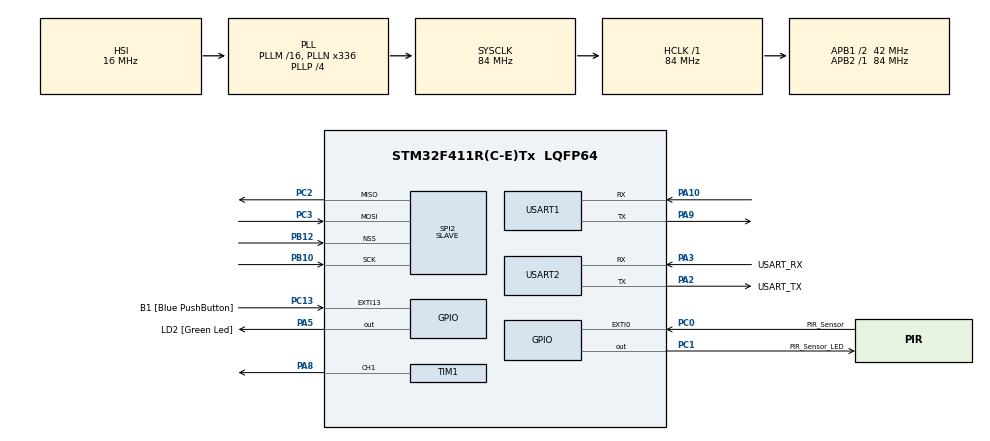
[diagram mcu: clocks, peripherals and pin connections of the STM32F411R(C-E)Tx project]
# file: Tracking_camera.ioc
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Mcu.Family=STM32F4
Mcu.Name=STM32F411R(C-E)Tx
Mcu.Package=LQFP64
NVIC.EXTI0_IRQn=true\:0\:0\:false\:false\:true\:true\:true\:true
NVIC.EXTI15_10_IRQn=true\:0\:0\:false\:false\:true\:true\:true\:true
NVIC.PriorityGroup=NVIC_PRIORITYGROUP_0
NVIC.SPI2_IRQn=true\:0\:0\:false\:false\:true\:true\:true\:true
NVIC.USART1_IRQn=true\:0\:0\:false\:false\:true\:true\:true\:true
PA10.Mode=Asynchronous
PA10.Signal=USART1_RX
PA13.GPIO_Label=TMS
PA13.Mode=Serial_Wire
PA13.Signal=SYS_JTMS-SWDIO
PA14.GPIO_Label=TCK
PA14.Mode=Serial_Wire
PA14.Signal=SYS_JTCK-SWCLK
PA2.GPIO_Label=USART_TX
PA2.Mode=Asynchronous
PA2.Signal=USART2_TX
PA3.GPIO_Label=USART_RX
PA3.Mode=Asynchronous
PA3.Signal=USART2_RX
PA5.GPIO_Label=LD2 [Green Led]
PA5.Signal=GPIO_Output
PA8.Signal=S_TIM1_CH1
PA9.Mode=Asynchronous
PA9.Signal=USART1_TX
PB10.Mode=Full_Duplex_Slave
PB10.Signal=SPI2_SCK
PB12.Mode=NSS_Signal_Hard_Input
PB12.Signal=SPI2_NSS
PB3.GPIO_Label=SWO
PB3.Signal=SYS_JTDO-SWO
PC0.GPIO_Label=PIR_Sensor
PC0.GPIO_ModeDefaultEXTI=GPIO_MODE_IT_RISING_FALLING
PC0.Signal=GPXTI0
PC1.GPIO_Label=PIR_Sensor_LED
PC1.Signal=GPIO_Output
PC13-ANTI_TAMP.GPIO_Label=B1 [Blue PushButton]
PC13-ANTI_TAMP.GPIO_ModeDefaultEXTI=GPIO_MODE_IT_FALLING
PC13-ANTI_TAMP.Signal=GPXTI13
PC14-OSC32_IN.Mode=LSE-External-Oscillator
PC14-OSC32_IN.Signal=RCC_OSC32_IN
PC15-OSC32_OUT.Mode=LSE-External-Oscillator
PC15-OSC32_OUT.Signal=RCC_OSC32_OUT
PC2.Mode=Full_Duplex_Slave
PC2.Signal=SPI2_MISO
PC3.Mode=Full_Duplex_Slave
PC3.Signal=SPI2_MOSI
PH0\ -\ OSC_IN.Mode=HSE-External-Clock-Source
PH0\ -\ OSC_IN.Signal=RCC_OSC_IN
PH1\ -\ OSC_OUT.Mode=HSE-External-Clock-Source
PH1\ -\ OSC_OUT.Signal=RCC_OSC_OUT
ProjectManager.HeapSize=0x200
ProjectManager.StackSize=0x400
ProjectManager.TargetToolchain=CMake
RCC.48MHZClocksFreq_Value=84000000
RCC.AHBFreq_Value=84000000
RCC.APB1CLKDivider=RCC_HCLK_DIV2
RCC.APB1Freq_Value=42000000
RCC.APB1TimFreq_Value=84000000
RCC.APB2Freq_Value=84000000
RCC.APB2TimFreq_Value=84000000
RCC.CortexFreq_Value=84000000
RCC.FLatency-AdvancedSettings=FLASH_LATENCY_2
RCC.HCLKFreq_Value=84000000
RCC.HSE_VALUE=8000000
RCC.HSI_VALUE=16000000
RCC.PLLN=336
RCC.PLLP=RCC_PLLP_DIV4
RCC.SYSCLKFreq_VALUE=84000000
RCC.SYSCLKSource=RCC_SYSCLKSOURCE_PLLCLK
RCC.VCOOutputFreq_Value=336000000
SH.S_TIM1_CH1.0=TIM1_CH1,PWM Generation1 CH1
SPI2.CRCCalculation=SPI_CRCCALCULATION_DISABLE
SPI2.Direction=SPI_DIRECTION_2LINES
SPI2.Mode=SPI_MODE_SLAVE
SPI2.VirtualNSS=VM_NSSHARD
SPI2.VirtualType=VM_SLAVE
TIM1.Channel-PWM\ Generation1\ CH1=TIM_CHANNEL_1
TIM1.Period=19999
TIM1.Prescaler=83
TIM1.Pulse-PWM\ Generation1\ CH1=1500
USART1.VirtualMode=VM_ASYNC
USART2.VirtualMode=VM_ASYNC
board=NUCLEO-F411RE

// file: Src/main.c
/* USER CODE BEGIN Header */
/**
  ******************************************************************************
  * @file           : main.c
  * @brief          : Main program body
  ******************************************************************************
  * @attention
  *
  * Copyright (c) 2026 STMicroelectronics.
  * All rights reserved.
  *
  * This software is licensed under terms that can be found in the LICENSE file
  * in the root directory of this software component.
  * If no LICENSE file comes with this software, it is provided AS-IS.
  *
  ******************************************************************************
  */
/* USER CODE END Header */
#include "main.h"

/* USER CODE BEGIN Includes */
#include "app/app_entry.h"
#include "stm32f4xx_hal_def.h"
#include "stm32f4xx_hal_gpio.h"
#include <stdio.h>
#include <string.h>
/* USER CODE END Includes */

/* USER CODE BEGIN PD */
volatile bool g_uartRxPending = false;
/* USER CODE END PD */

SPI_HandleTypeDef hspi2;

TIM_HandleTypeDef htim1;

UART_HandleTypeDef huart1;
UART_HandleTypeDef huart2;

void SystemClock_Config(void);
static void MX_GPIO_Init(void);
static void MX_USART1_UART_Init(void);
static void MX_USART2_UART_Init(void);
static void MX_TIM1_Init(void);
static void MX_SPI2_Init(void);

/* USER CODE BEGIN 0 */
void HAL_GPIO_EXTI_Callback(uint16_t GPIO_Pin)
{
  App_GPIO_EXTI_Callback(GPIO_Pin);
}

void HAL_UART_RxCpltCallback(UART_HandleTypeDef *huart)
{
  App_UART_RxCpltCallback(huart);
}

void HAL_SPI_RxCpltCallback(SPI_HandleTypeDef *hspi)
{
  App_SPI_RxCpltCallback(hspi);
}

int __io_putchar(int ch)
{
  uint8_t byte = (uint8_t)ch;
  HAL_UART_Transmit(&huart2, &byte, 1, HAL_MAX_DELAY);
  return ch;
}
/* USER CODE END 0 */

int main(void)
{

  /* MCU Configuration--------------------------------------------------------*/

  /* Reset of all peripherals, Initializes the Flash interface and the Systick. */
  HAL_Init();

  /* Configure the system clock */
  SystemClock_Config();

  /* Initialize all configured peripherals */
  MX_GPIO_Init();
  MX_USART1_UART_Init();
  MX_USART2_UART_Init();
  MX_TIM1_Init();
  MX_SPI2_Init();
  /* USER CODE BEGIN 2 */
  HAL_TIM_PWM_Start(&htim1, TIM_CHANNEL_1);

  App_Run(&htim1, &huart1, &hspi2);
  /* USER CODE END 2 */

  /* Infinite loop */
  /* USER CODE BEGIN WHILE */
  while (1)
  {
    App_Loop();
    /* USER CODE END WHILE */

    /* USER CODE BEGIN 3 */
  }

  App_Release();
  /* USER CODE END 3 */
}

void SystemClock_Config(void)
{
  RCC_OscInitTypeDef RCC_OscInitStruct = {0};
  RCC_ClkInitTypeDef RCC_ClkInitStruct = {0};

  /** Configure the main internal regulator output voltage
  */
  __HAL_RCC_PWR_CLK_ENABLE();
  __HAL_PWR_VOLTAGESCALING_CONFIG(PWR_REGULATOR_VOLTAGE_SCALE1);

  /** Initializes the RCC Oscillators according to the specified parameters
  * in the RCC_OscInitTypeDef structure.
  */
  RCC_OscInitStruct.OscillatorType = RCC_OSCILLATORTYPE_HSI;
  RCC_OscInitStruct.HSIState = RCC_HSI_ON;
  RCC_OscInitStruct.HSICalibrationValue = RCC_HSICALIBRATION_DEFAULT;
  RCC_OscInitStruct.PLL.PLLState = RCC_PLL_ON;
  RCC_OscInitStruct.PLL.PLLSource = RCC_PLLSOURCE_HSI;
  RCC_OscInitStruct.PLL.PLLM = 16;
  RCC_OscInitStruct.PLL.PLLN = 336;
  RCC_OscInitStruct.PLL.PLLP = RCC_PLLP_DIV4;
  RCC_OscInitStruct.PLL.PLLQ = 4;
  if (HAL_RCC_OscConfig(&RCC_OscInitStruct) != HAL_OK)
  {
    Error_Handler();
  }

  /** Initializes the CPU, AHB and APB buses clocks
  */
  RCC_ClkInitStruct.ClockType = RCC_CLOCKTYPE_HCLK|RCC_CLOCKTYPE_SYSCLK
                              |RCC_CLOCKTYPE_PCLK1|RCC_CLOCKTYPE_PCLK2;
  RCC_ClkInitStruct.SYSCLKSource = RCC_SYSCLKSOURCE_PLLCLK;
  RCC_ClkInitStruct.AHBCLKDivider = RCC_SYSCLK_DIV1;
  RCC_ClkInitStruct.APB1CLKDivider = RCC_HCLK_DIV2;
  RCC_ClkInitStruct.APB2CLKDivider = RCC_HCLK_DIV1;

  if (HAL_RCC_ClockConfig(&RCC_ClkInitStruct, FLASH_LATENCY_2) != HAL_OK)
  {
    Error_Handler();
  }
}

static void MX_SPI2_Init(void)
{

  /* SPI2 parameter configuration*/
  hspi2.Instance = SPI2;
  hspi2.Init.Mode = SPI_MODE_SLAVE;
  hspi2.Init.Direction = SPI_DIRECTION_2LINES;
  hspi2.Init.DataSize = SPI_DATASIZE_8BIT;
  hspi2.Init.CLKPolarity = SPI_POLARITY_LOW;
  hspi2.Init.CLKPhase = SPI_PHASE_1EDGE;
  hspi2.Init.NSS = SPI_NSS_HARD_INPUT;
  hspi2.Init.FirstBit = SPI_FIRSTBIT_MSB;
  hspi2.Init.TIMode = SPI_TIMODE_DISABLE;
  hspi2.Init.CRCCalculation = SPI_CRCCALCULATION_DISABLE;
  hspi2.Init.CRCPolynomial = 10;
  if (HAL_SPI_Init(&hspi2) != HAL_OK)
  {
    Error_Handler();
  }

}

static void MX_TIM1_Init(void)
{

  TIM_MasterConfigTypeDef sMasterConfig = {0};
  TIM_OC_InitTypeDef sConfigOC = {0};
  TIM_BreakDeadTimeConfigTypeDef sBreakDeadTimeConfig = {0};

  htim1.Instance = TIM1;
  htim1.Init.Prescaler = 83;
  htim1.Init.CounterMode = TIM_COUNTERMODE_UP;
  htim1.Init.Period = 19999;
  htim1.Init.ClockDivision = TIM_CLOCKDIVISION_DIV1;
  htim1.Init.RepetitionCounter = 0;
  htim1.Init.AutoReloadPreload = TIM_AUTORELOAD_PRELOAD_DISABLE;
  if (HAL_TIM_PWM_Init(&htim1) != HAL_OK)
  {
    Error_Handler();
  }
  sMasterConfig.MasterOutputTrigger = TIM_TRGO_RESET;
  sMasterConfig.MasterSlaveMode = TIM_MASTERSLAVEMODE_DISABLE;
  if (HAL_TIMEx_MasterConfigSynchronization(&htim1, &sMasterConfig) != HAL_OK)
  {
    Error_Handler();
  }
  sConfigOC.OCMode = TIM_OCMODE_PWM1;
  sConfigOC.Pulse = 1500;
  sConfigOC.OCPolarity = TIM_OCPOLARITY_HIGH;
  sConfigOC.OCNPolarity = TIM_OCNPOLARITY_HIGH;
  sConfigOC.OCFastMode = TIM_OCFAST_DISABLE;
  sConfigOC.OCIdleState = TIM_OCIDLESTATE_RESET;
  sConfigOC.OCNIdleState = TIM_OCNIDLESTATE_RESET;
  if (HAL_TIM_PWM_ConfigChannel(&htim1, &sConfigOC, TIM_CHANNEL_1) != HAL_OK)
  {
    Error_Handler();
  }
  sBreakDeadTimeConfig.OffStateRunMode = TIM_OSSR_DISABLE;
  sBreakDeadTimeConfig.OffStateIDLEMode = TIM_OSSI_DISABLE;
  sBreakDeadTimeConfig.LockLevel = TIM_LOCKLEVEL_OFF;
  sBreakDeadTimeConfig.DeadTime = 0;
  sBreakDeadTimeConfig.BreakState = TIM_BREAK_DISABLE;
  sBreakDeadTimeConfig.BreakPolarity = TIM_BREAKPOLARITY_HIGH;
  sBreakDeadTimeConfig.AutomaticOutput = TIM_AUTOMATICOUTPUT_DISABLE;
  if (HAL_TIMEx_ConfigBreakDeadTime(&htim1, &sBreakDeadTimeConfig) != HAL_OK)
  {
    Error_Handler();
  }
  HAL_TIM_MspPostInit(&htim1);

}

static void MX_USART1_UART_Init(void)
{

  huart1.Instance = USART1;
  huart1.Init.BaudRate = 115200;
  huart1.Init.WordLength = UART_WORDLENGTH_8B;
  huart1.Init.StopBits = UART_STOPBITS_1;
  huart1.Init.Parity = UART_PARITY_NONE;
  huart1.Init.Mode = UART_MODE_TX_RX;
  huart1.Init.HwFlowCtl = UART_HWCONTROL_NONE;
  huart1.Init.OverSampling = UART_OVERSAMPLING_16;
  if (HAL_UART_Init(&huart1) != HAL_OK)
  {
    Error_Handler();
  }

}

static void MX_USART2_UART_Init(void)
{

  huart2.Instance = USART2;
  huart2.Init.BaudRate = 115200;
  huart2.Init.WordLength = UART_WORDLENGTH_8B;
  huart2.Init.StopBits = UART_STOPBITS_1;
  huart2.Init.Parity = UART_PARITY_NONE;
  huart2.Init.Mode = UART_MODE_TX_RX;
  huart2.Init.HwFlowCtl = UART_HWCONTROL_NONE;
  huart2.Init.OverSampling = UART_OVERSAMPLING_16;
  if (HAL_UART_Init(&huart2) != HAL_OK)
  {
    Error_Handler();
  }

}

static void MX_GPIO_Init(void)
{
  GPIO_InitTypeDef GPIO_InitStruct = {0};

  /* GPIO Ports Clock Enable */
  __HAL_RCC_GPIOC_CLK_ENABLE();
  __HAL_RCC_GPIOH_CLK_ENABLE();
  __HAL_RCC_GPIOA_CLK_ENABLE();
  __HAL_RCC_GPIOB_CLK_ENABLE();

  /*Configure GPIO pin Output Level */
  HAL_GPIO_WritePin(PIR_Sensor_LED_GPIO_Port, PIR_Sensor_LED_Pin, GPIO_PIN_RESET);

  /*Configure GPIO pin Output Level */
  HAL_GPIO_WritePin(LD2_GPIO_Port, LD2_Pin, GPIO_PIN_RESET);

  /*Configure GPIO pin : B1_Pin */
  GPIO_InitStruct.Pin = B1_Pin;
  GPIO_InitStruct.Mode = GPIO_MODE_IT_FALLING;
  GPIO_InitStruct.Pull = GPIO_NOPULL;
  HAL_GPIO_Init(B1_GPIO_Port, &GPIO_InitStruct);

  /*Configure GPIO pin : PIR_Sensor_Pin */
  GPIO_InitStruct.Pin = PIR_Sensor_Pin;
  GPIO_InitStruct.Mode = GPIO_MODE_IT_RISING_FALLING;
  GPIO_InitStruct.Pull = GPIO_NOPULL;
  HAL_GPIO_Init(PIR_Sensor_GPIO_Port, &GPIO_InitStruct);

  /*Configure GPIO pin : PIR_Sensor_LED_Pin */
  GPIO_InitStruct.Pin = PIR_Sensor_LED_Pin;
  GPIO_InitStruct.Mode = GPIO_MODE_OUTPUT_PP;
  GPIO_InitStruct.Pull = GPIO_NOPULL;
  GPIO_InitStruct.Speed = GPIO_SPEED_FREQ_LOW;
  HAL_GPIO_Init(PIR_Sensor_LED_GPIO_Port, &GPIO_InitStruct);

  /*Configure GPIO pin : LD2_Pin */
  GPIO_InitStruct.Pin = LD2_Pin;
  GPIO_InitStruct.Mode = GPIO_MODE_OUTPUT_PP;
  GPIO_InitStruct.Pull = GPIO_NOPULL;
  GPIO_InitStruct.Speed = GPIO_SPEED_FREQ_LOW;
  HAL_GPIO_Init(LD2_GPIO_Port, &GPIO_InitStruct);

  /* EXTI interrupt init*/
  HAL_NVIC_SetPriority(EXTI0_IRQn, 0, 0);
  HAL_NVIC_EnableIRQ(EXTI0_IRQn);

  HAL_NVIC_SetPriority(EXTI15_10_IRQn, 0, 0);
  HAL_NVIC_EnableIRQ(EXTI15_10_IRQn);

}

void Error_Handler(void)
{
  __disable_irq();
  while (1)
  {
  }
}
